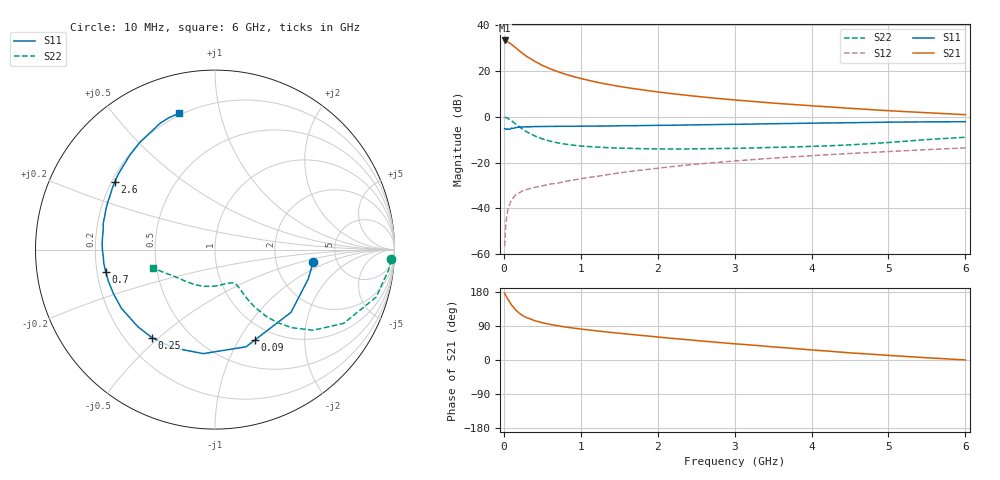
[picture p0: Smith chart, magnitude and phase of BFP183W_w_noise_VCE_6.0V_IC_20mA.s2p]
! (c) 2017  Infineon Technologies AG, Munich
! Infineon Technologies  Discrete & RF Semiconductors
! BFP183W
! VCE =  6.0 V,  IC =  20 mA
! Common Emitter S-Parameters:  Jan 2017
# GHz  S  MA  R  50
!  f  S11  S21  S12  S22
! GHz  MAG  ANG  MAG  ANG  MAG  ANG  MAG  ANG
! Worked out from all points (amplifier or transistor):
!   77 points, 10 MHz to 6 GHz, reference 50 ohm
!   highest |S21| = 33.4 dB at 10 MHz (marker M1)
!   |S21| within 3 dB of that: start of sweep to 147.4 MHz
!   unconditionally stable (mu >= 1): 1.179 GHz to 3.598 GHz
!   at 130 MHz: K = 0.23, MSG = 32.9 dB, |S12| = -35.0 dB
!   at 2.2 GHz: K = 1.06, MAG = 14.3 dB, |S12| = -21.7 dB
!   at 6 GHz: K = 0.87, MSG = 7.3 dB, |S12| = -13.6 dB
!   lowest NFmin = 1.17 dB at 450 MHz
!   S11 on the Smith chart (normalised r, x): 10 MHz: 3.31, -0.66; 90 MHz: 0.81, -1.17; 250 MHz: 0.31, -0.47; 700 MHz: 0.24, -0.10; 2.6 GHz: 0.21, +0.29; 6 GHz: 0.19, +0.75
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0.01  0.5509 -7.3  46.7 176.5  0.0015 94.5  0.9839 -3.2
0.02  0.5447 -17.5  46.16 171.9  0.0032 91.3  0.9738 -6.7
0.05  0.549 -39.5  43.87 161.0  0.009 76.4  0.9365 -16.4
0.09  0.5503 -66.1  39.33 148.4  0.0141 67.0  0.8442 -26.9
0.1  0.5685 -72.3  38.52 144.9  0.0154 65.6  0.8261 -29.8
0.15  0.5832 -96.4  32.81 132.8  0.0194 55.2  0.7081 -39.4
0.2  0.5949 -113.0  27.82 123.6  0.0219 51.3  0.61 -45.5
0.25  0.6034 -125.7  23.91 116.6  0.0246 47.5  0.5303 -49.7
0.3  0.6078 -135.0  20.74 111.5  0.026 45.7  0.4686 -52.5
0.4  0.6155 -147.9  16.35 103.7  0.0289 45.4  0.3842 -55.5
0.5  0.617 -156.7  13.35 98.3  0.0311 45.6  0.3317 -56.7
0.6  0.6192 -163.2  11.29 94.0  0.034 47.7  0.2956 -57.3
0.7  0.6215 -168.5  9.739 90.4  0.0357 49.0  0.271 -57.4
0.9  0.6236 -176.6  7.628 84.3  0.0415 52.4  0.2412 -58.1
1.1  0.6295 177.1  6.289 79.4  0.0474 54.3  0.2251 -59.0
1.5  0.6392 167.0  4.637 70.6  0.0597 57.2  0.2076 -62.9
2.1  0.655 154.5  3.351 58.8  0.079 57.7  0.1992 -74.0
2.6  0.6737 145.8  2.704 49.6  0.0957 56.7  0.2014 -86.2
3.1  0.6918 137.7  2.271 41.3  0.1121 54.9  0.207 -98.9
4.1  0.7328 123.6  1.705 25.1  0.1454 50.0  0.2297 -124.8
5.1  0.7687 112.8  1.336 10.9  0.1785 44.4  0.284 -150.1
6  0.7849 104.9  1.117 0.1  0.2097 38.5  0.3588 -163.6
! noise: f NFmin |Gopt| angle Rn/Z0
0.45  1.17  0.2  171  0.1
0.9  1.2  0.25  174  0.09
1.9  1.68  0.41  -163  0.08
2.4  1.92  0.45  -157  0.12
